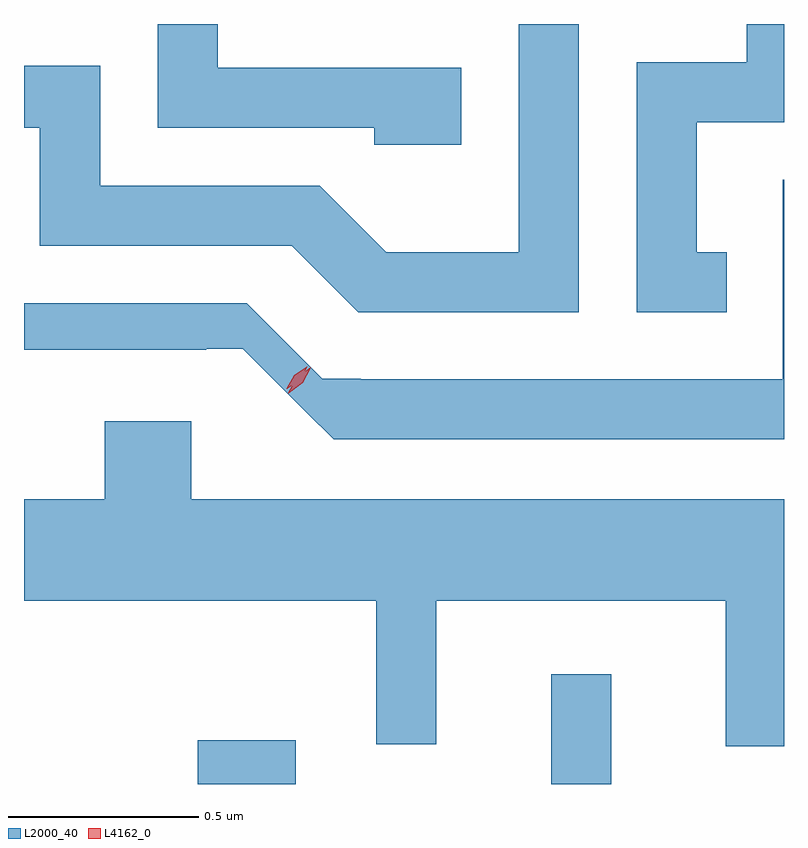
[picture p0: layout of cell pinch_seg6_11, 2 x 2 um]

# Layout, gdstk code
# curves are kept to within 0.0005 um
import gdstk
lib = gdstk.Library(unit=1e-6, precision=1e-09)
def R(c, l, rs):  # rectangles x0, y0, x1, y1
    for r in rs: c.add(gdstk.rectangle(r[:2], r[2:], *l))
def P(c, l, *ps):  # polygons
    for p in ps: c.add(gdstk.Polygon(p, *l))
L2000_40 = (2000, 40)
L4162_0 = (4162, 0)

pinch_seg6_11 = lib.new_cell('pinch_seg6_11')
R(pinch_seg6_11, L2000_40, [(844.636,1556.214,844.894,1556.329), (845.566,1556.214,845.724,1556.503)])
P(pinch_seg6_11, L2000_40, [(845.329,1558.099),(844.689,1558.099),(844.689,1558.214),(844.531,1558.214),(844.531,1557.941),(845.101,1557.941),(845.101,1557.896),(845.329,1557.896)],
  [(846.028,1557.614),(845.949,1557.614),(845.949,1557.956),(846.179,1557.956),(846.179,1558.214),(846.081,1558.214),(846.081,1558.114),(845.791,1558.114),(845.791,1557.456),(846.028,1557.456)],
  [(845.639,1558.214),(845.481,1558.214),(845.481,1557.614),(845.132,1557.614),(844.957,1557.789),(844.379,1557.789),(844.379,1558.104),(844.179,1558.104),(844.179,1557.941),(844.221,1557.941),(844.221,1557.631),(844.884,1557.631),(845.059,1557.456),(845.639,1557.456)],
  [(846.179,1557.804),(846.176,1557.804),(846.176,1557.279),(845.065,1557.279),(845.065,1557.28),(844.964,1557.28),(844.765,1557.479),(844.179,1557.479),(844.179,1557.357),(844.658,1557.357),(844.658,1557.359),(844.755,1557.359),(844.994,1557.121),(846.179,1557.121)],
  [(846.179,1556.964),(844.619,1556.964),(844.619,1557.169),(844.391,1557.169),(844.391,1556.964),(844.179,1556.964),(844.179,1556.696),(845.106,1556.696),(845.106,1556.318),(845.264,1556.318),(845.264,1556.696),(846.026,1556.696),(846.026,1556.313),(846.179,1556.313)])
P(pinch_seg6_11, L4162_0, [(844.871,1557.254),(844.871,1557.255),(844.89,1557.29),(844.923,1557.312),(844.924,1557.312),(844.924,1557.312),(844.905,1557.276),(844.872,1557.254)],
  [(844.875,1557.242),(844.875,1557.243),(844.897,1557.283),(844.933,1557.311),(844.934,1557.311),(844.934,1557.31),(844.912,1557.27),(844.876,1557.242)])

lib.write_gds('pinch_seg6_11.gds')
